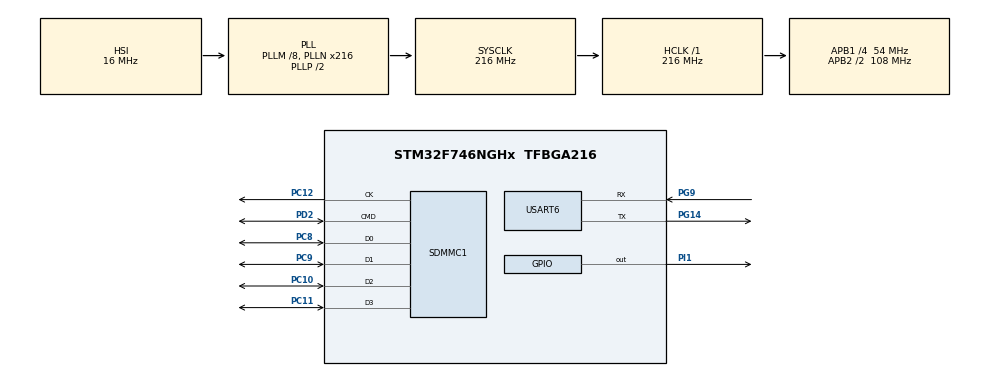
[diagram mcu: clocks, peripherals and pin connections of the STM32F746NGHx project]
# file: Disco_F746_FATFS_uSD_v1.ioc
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Mcu.Family=STM32F7
RCC.CortexFreq_Value=216000000
Dma.SDMMC1_RX.0.MemInc=DMA_MINC_ENABLE
PC12.Signal=SDMMC1_CK
PC10.Signal=SDMMC1_D2
Dma.SDMMC1_RX.0.Instance=DMA2_Stream3
Dma.SDMMC1_RX.0.FIFOMode=DMA_FIFOMODE_ENABLE
Dma.SDMMC1_RX.0.Priority=DMA_PRIORITY_HIGH
RCC.SYSCLKSource=RCC_SYSCLKSOURCE_PLLCLK
ProjectManager.StackSize=0x1000
Dma.SDMMC1_TX.1.FIFOThreshold=DMA_FIFO_THRESHOLD_FULL
RCC.PLL48CLockSelection=RCC_CLK48SOURCE_PLLSAIP
RCC.HCLKFreq_Value=216000000
RCC.APB2TimFreq_Value=216000000
USART6.VirtualMode-Asynchronous=VM_ASYNC
RCC.AHBFreq_Value=216000000
RCC.HSE_VALUE=25000000
PG14.Mode=Asynchronous
PC9.Mode=SD_4_bits_Wide_bus
VP_FREERTOS_VS_CMSIS_V1.Mode=CMSIS_V1
Mcu.Package=TFBGA216
RCC.SDMMCClockSelection=RCC_SDMMC1CLKSOURCE_CLK48
Dma.SDMMC1_RX.0.PeriphBurst=DMA_PBURST_INC4
PC11.Mode=SD_4_bits_Wide_bus
RCC.PLLSAIN=50
RCC.PLLSAIR=5
RCC.APB2CLKDivider=RCC_HCLK_DIV2
Dma.Request1=SDMMC1_TX
RCC.APB1TimFreq_Value=108000000
Dma.SDMMC1_TX.1.MemInc=DMA_MINC_ENABLE
Dma.SDMMC1_RX.0.Mode=DMA_PFCTRL
Dma.Request0=SDMMC1_RX
Dma.SDMMC1_RX.0.MemDataAlignment=DMA_MDATAALIGN_WORD
Dma.SDMMC1_TX.1.Direction=DMA_MEMORY_TO_PERIPH
Dma.SDMMC1_TX.1.Instance=DMA2_Stream6
FREERTOS.Tasks01=uSDThread,0,1024,StartThread,Default,NULL,Dynamic,NULL,NULL
Dma.SDMMC1_RX.0.PeriphInc=DMA_PINC_DISABLE
PG9.Signal=USART6_RX
PC11.Signal=SDMMC1_D3
PG9.Mode=Asynchronous
PC8.Signal=SDMMC1_D0
PC10.Mode=SD_4_bits_Wide_bus
Dma.SDMMC1_RX.0.PeriphDataAlignment=DMA_PDATAALIGN_WORD
RCC.APB1CLKDivider=RCC_HCLK_DIV4
RCC.PLLSAIRDiv=RCC_PLLSAIDIVR_8
Dma.SDMMC1_TX.1.PeriphBurst=DMA_PBURST_INC4
ProjectManager.TargetToolchain=STM32CubeIDE
RCC.USBFreq_Value=50000000
NVIC.DMA2_Stream3_IRQn=true\:5\:0\:false\:false\:false\:true\:false\:true
NVIC.DMA2_Stream6_IRQn=true\:5\:0\:false\:false\:false\:true\:false\:true
PD2.Mode=SD_4_bits_Wide_bus
PG14.Signal=USART6_TX
PC12.Mode=SD_4_bits_Wide_bus
board=STM32F746G-DISCO
RCC.VCOOutputFreq_Value=432000000
RCC.APB2Freq_Value=108000000
PI1.Signal=GPIO_Output
Dma.SDMMC1_RX.0.Direction=DMA_PERIPH_TO_MEMORY
Dma.SDMMC1_RX.0.MemBurst=DMA_MBURST_INC4
Dma.SDMMC1_TX.1.Priority=DMA_PRIORITY_HIGH
Dma.SDMMC1_TX.1.FIFOMode=DMA_FIFOMODE_ENABLE
Mcu.Name=STM32F746NGHx
PC8.Mode=SD_4_bits_Wide_bus
RCC.SYSCLKFreq_VALUE=216000000
Dma.SDMMC1_TX.1.MemBurst=DMA_MBURST_INC4
Dma.SDMMC1_RX.0.FIFOThreshold=DMA_FIFO_THRESHOLD_FULL
Dma.SDMMC1_TX.1.PeriphDataAlignment=DMA_PDATAALIGN_WORD
ProjectManager.HeapSize=0x200
Dma.SDMMC1_TX.1.MemDataAlignment=DMA_MDATAALIGN_WORD
RCC.HSI_VALUE=16000000
RCC.PLLQ=9
NVIC.PriorityGroup=NVIC_PRIORITYGROUP_4
RCC.PLLM=8
RCC.PLLN=216
PC9.Signal=SDMMC1_D1
PD2.Signal=SDMMC1_CMD
RCC.APB1Freq_Value=54000000
Dma.SDMMC1_TX.1.Mode=DMA_PFCTRL
Dma.SDMMC1_TX.1.PeriphInc=DMA_PINC_DISABLE
RCC.PLLI2SN=100

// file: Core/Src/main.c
/* USER CODE BEGIN Header */
/**
  ******************************************************************************
  * @file           : main.c
  * @brief          : Main program body
  ******************************************************************************
  * @attention
  *
  * <h2><center>&copy; Copyright (c) 2021 STMicroelectronics.
  * All rights reserved.</center></h2>
  *
  * This software component is licensed by ST under Ultimate Liberty license
  * SLA0044, the "License"; You may not use this file except in compliance with
  * the License. You may obtain a copy of the License at:
  *                             www.st.com/SLA0044
  *
  ******************************************************************************
  */
/* USER CODE END Header */
#include "main.h"
#include "cmsis_os.h"

SD_HandleTypeDef hsd1;
DMA_HandleTypeDef hdma_sdmmc1_rx;
DMA_HandleTypeDef hdma_sdmmc1_tx;

UART_HandleTypeDef huart6;

osThreadId uSDThreadHandle;
/* USER CODE BEGIN PV */

FATFS SDFatFs;  /* File system object for SD card logical drive */
FIL MyFile;     /* File object */
char SDPath[4]; /* SD card logical drive path */
uint8_t workBuffer[2*_MAX_SS];

/* USER CODE END PV */

void SystemClock_Config(void);
static void MX_GPIO_Init(void);
static void MX_DMA_Init(void);
static void MX_SDMMC1_SD_Init(void);
static void MX_USART6_UART_Init(void);
void StartThread(void const * argument);

int main(void)
{

  /* MCU Configuration--------------------------------------------------------*/

  /* Reset of all peripherals, Initializes the Flash interface and the Systick. */
  HAL_Init();

  /* Configure the system clock */
  SystemClock_Config();

  /* Initialize all configured peripherals */
  MX_GPIO_Init();
  MX_DMA_Init();
  MX_SDMMC1_SD_Init();
  MX_USART6_UART_Init();

  /* Create the thread(s) */
  /* definition and creation of uSDThread */
  osThreadDef(uSDThread, StartThread, osPriorityNormal, 0, 1024);
  uSDThreadHandle = osThreadCreate(osThread(uSDThread), NULL);

  /* Start scheduler */
  osKernelStart();

  /* We should never get here as control is now taken by the scheduler */
  /* Infinite loop */
  while (1)
  {

  }
}

void SystemClock_Config(void)
{
  RCC_OscInitTypeDef RCC_OscInitStruct = {0};
  RCC_ClkInitTypeDef RCC_ClkInitStruct = {0};
  RCC_PeriphCLKInitTypeDef PeriphClkInitStruct = {0};

  /** Configure the main internal regulator output voltage
  */
  __HAL_RCC_PWR_CLK_ENABLE();
  __HAL_PWR_VOLTAGESCALING_CONFIG(PWR_REGULATOR_VOLTAGE_SCALE1);
  /** Initializes the RCC Oscillators according to the specified parameters
  * in the RCC_OscInitTypeDef structure.
  */
  RCC_OscInitStruct.OscillatorType = RCC_OSCILLATORTYPE_HSI;
  RCC_OscInitStruct.HSIState = RCC_HSI_ON;
  RCC_OscInitStruct.HSICalibrationValue = RCC_HSICALIBRATION_DEFAULT;
  RCC_OscInitStruct.PLL.PLLState = RCC_PLL_ON;
  RCC_OscInitStruct.PLL.PLLSource = RCC_PLLSOURCE_HSI;
  RCC_OscInitStruct.PLL.PLLM = 8;
  RCC_OscInitStruct.PLL.PLLN = 216;
  RCC_OscInitStruct.PLL.PLLP = RCC_PLLP_DIV2;
  RCC_OscInitStruct.PLL.PLLQ = 9;
  if (HAL_RCC_OscConfig(&RCC_OscInitStruct) != HAL_OK)
  {
    Error_Handler();
  }
  /** Activate the Over-Drive mode
  */
  if (HAL_PWREx_EnableOverDrive() != HAL_OK)
  {
    Error_Handler();
  }
  /** Initializes the CPU, AHB and APB buses clocks
  */
  RCC_ClkInitStruct.ClockType = RCC_CLOCKTYPE_HCLK|RCC_CLOCKTYPE_SYSCLK
                              |RCC_CLOCKTYPE_PCLK1|RCC_CLOCKTYPE_PCLK2;
  RCC_ClkInitStruct.SYSCLKSource = RCC_SYSCLKSOURCE_PLLCLK;
  RCC_ClkInitStruct.AHBCLKDivider = RCC_SYSCLK_DIV1;
  RCC_ClkInitStruct.APB1CLKDivider = RCC_HCLK_DIV4;
  RCC_ClkInitStruct.APB2CLKDivider = RCC_HCLK_DIV2;

  if (HAL_RCC_ClockConfig(&RCC_ClkInitStruct, FLASH_LATENCY_7) != HAL_OK)
  {
    Error_Handler();
  }
  PeriphClkInitStruct.PeriphClockSelection = RCC_PERIPHCLK_USART6|RCC_PERIPHCLK_SDMMC1
                              |RCC_PERIPHCLK_CLK48;
  PeriphClkInitStruct.PLLSAI.PLLSAIN = 50;
  PeriphClkInitStruct.PLLSAI.PLLSAIR = 5;
  PeriphClkInitStruct.PLLSAI.PLLSAIQ = 2;
  PeriphClkInitStruct.PLLSAI.PLLSAIP = RCC_PLLSAIP_DIV2;
  PeriphClkInitStruct.PLLSAIDivQ = 1;
  PeriphClkInitStruct.PLLSAIDivR = RCC_PLLSAIDIVR_8;
  PeriphClkInitStruct.Usart6ClockSelection = RCC_USART6CLKSOURCE_PCLK2;
  PeriphClkInitStruct.Clk48ClockSelection = RCC_CLK48SOURCE_PLLSAIP;
  PeriphClkInitStruct.Sdmmc1ClockSelection = RCC_SDMMC1CLKSOURCE_CLK48;
  if (HAL_RCCEx_PeriphCLKConfig(&PeriphClkInitStruct) != HAL_OK)
  {
    Error_Handler();
  }
}

static void MX_SDMMC1_SD_Init(void)
{

  hsd1.Instance = SDMMC1;
  hsd1.Init.ClockEdge = SDMMC_CLOCK_EDGE_RISING;
  hsd1.Init.ClockBypass = SDMMC_CLOCK_BYPASS_DISABLE;
  hsd1.Init.ClockPowerSave = SDMMC_CLOCK_POWER_SAVE_DISABLE;
  hsd1.Init.BusWide = SDMMC_BUS_WIDE_1B;
  hsd1.Init.HardwareFlowControl = SDMMC_HARDWARE_FLOW_CONTROL_DISABLE;
  hsd1.Init.ClockDiv = 0;
  if (HAL_SD_Init(&hsd1) != HAL_OK)
  {
    Error_Handler();
  }
  if (HAL_SD_ConfigWideBusOperation(&hsd1, SDMMC_BUS_WIDE_4B) != HAL_OK)
  {
    Error_Handler();
  }

}

static void MX_USART6_UART_Init(void)
{

  huart6.Instance = USART6;
  huart6.Init.BaudRate = 115200;
  huart6.Init.WordLength = UART_WORDLENGTH_8B;
  huart6.Init.StopBits = UART_STOPBITS_1;
  huart6.Init.Parity = UART_PARITY_NONE;
  huart6.Init.Mode = UART_MODE_TX_RX;
  huart6.Init.HwFlowCtl = UART_HWCONTROL_NONE;
  huart6.Init.OverSampling = UART_OVERSAMPLING_16;
  huart6.Init.OneBitSampling = UART_ONE_BIT_SAMPLE_DISABLE;
  huart6.AdvancedInit.AdvFeatureInit = UART_ADVFEATURE_NO_INIT;
  if (HAL_UART_Init(&huart6) != HAL_OK)
  {
    Error_Handler();
  }

}

static void MX_DMA_Init(void)
{

  /* DMA controller clock enable */
  __HAL_RCC_DMA2_CLK_ENABLE();

  /* DMA interrupt init */
  /* DMA2_Stream3_IRQn interrupt configuration */
  HAL_NVIC_SetPriority(DMA2_Stream3_IRQn, 5, 0);
  HAL_NVIC_EnableIRQ(DMA2_Stream3_IRQn);
  /* DMA2_Stream6_IRQn interrupt configuration */
  HAL_NVIC_SetPriority(DMA2_Stream6_IRQn, 5, 0);
  HAL_NVIC_EnableIRQ(DMA2_Stream6_IRQn);

}

static void MX_GPIO_Init(void)
{
  GPIO_InitTypeDef GPIO_InitStruct = {0};

  /* GPIO Ports Clock Enable */
  __HAL_RCC_GPIOG_CLK_ENABLE();
  __HAL_RCC_GPIOC_CLK_ENABLE();
  __HAL_RCC_GPIOD_CLK_ENABLE();
  __HAL_RCC_GPIOI_CLK_ENABLE();

  /*Configure GPIO pin Output Level */
  HAL_GPIO_WritePin(GPIOI, GPIO_PIN_1, GPIO_PIN_RESET);

  /*Configure GPIO pin : PI1 */
  GPIO_InitStruct.Pin = GPIO_PIN_1;
  GPIO_InitStruct.Mode = GPIO_MODE_OUTPUT_PP;
  GPIO_InitStruct.Pull = GPIO_NOPULL;
  GPIO_InitStruct.Speed = GPIO_SPEED_FREQ_LOW;
  HAL_GPIO_Init(GPIOI, &GPIO_InitStruct);

}

void StartThread(void const * argument)
{
  /* USER CODE BEGIN 5 */
	  FRESULT res;                                          /* FatFs function common result code */
	  uint32_t byteswritten, bytesread;                     /* File write/read counts */
	  uint8_t wtext[] = "This is STM32 working with FatFs qwertyuiopasdfghjklzxcvbnm"; /* File write buffer */
	  uint8_t rtext[100];                                   /* File read buffer */

      BSP_LED_Off(LED1);

	  /*##-1- Link the micro SD disk I/O driver ##################################*/
	  if(FATFS_LinkDriver(&SD_Driver, SDPath) == 0)
	  {
	    /*##-2- Register the file system object to the FatFs module ##############*/
	    if(f_mount(&SDFatFs, (TCHAR const*)SDPath, 0) != FR_OK)
	    {
	      /* FatFs Initialization Error */
	      Error_Handler();
	    }
	    /*##-3- Create a FAT file system (format) on the logical drive #########*/
	    /* WARNING: Formatting the uSD card will delete all content on the device */
	    if(f_mkfs((TCHAR const*)SDPath, FM_ANY, 0, workBuffer, sizeof(workBuffer)) != FR_OK)
	      {
	        /* FatFs Format Error */
	        Error_Handler();
	      }
	     /*##-4- Create and Open a new text file object with write access #####*/
	     if(f_open(&MyFile, "STM32.TXT", FA_CREATE_ALWAYS | FA_WRITE | FA_OPEN_APPEND) != FR_OK)
	       {
	       /* 'STM32.TXT' file Open for write Error */
	       Error_Handler();
	       }
	     /*##-5- Write data to the text file ################################*/
	     res = f_write(&MyFile, wtext, sizeof(wtext), (void *)&byteswritten);

	     if((byteswritten == 0) || (res != FR_OK))
	       {
	       /* 'STM32.TXT' file Write or EOF Error */
	       Error_Handler();
	       }
	     /*##-6- Close the open text file #################################*/
	     f_close(&MyFile);

	     /*##-7- Open the text file object with read access ###############*/
	     if(f_open(&MyFile, "STM32.TXT", FA_READ) != FR_OK)
	       {
	       /* 'STM32.TXT' file Open for read Error */
	       Error_Handler();
	       }
	     /*##-8- Read data from the text file ###########################*/
	     res = f_read(&MyFile, rtext, sizeof(rtext), (UINT*)&bytesread);

	     if((bytesread == 0) || (res != FR_OK))
	       {
	       /* 'STM32.TXT' file Read or EOF Error */
	       Error_Handler();
	       }
	     /*##-9- Close the open text file #############################*/
	     f_close(&MyFile);

	     /*##-10- Compare read data with the expected data ############*/
	     if ((bytesread != byteswritten))
	        {
	        /* Read data is different from the expected data */
	        Error_Handler();
	        }
	     else
	        {
	        /* Success of the demo: no error occurrence */
	        BSP_LED_On(LED1);
	        }

		/*##-11- Unlink the micro SD disk I/O driver ###############################*/
		FATFS_UnLinkDriver(SDPath);
	  }

	  /* Infinite Loop */
	  for( ;; )
	  {
	  }
  /* USER CODE END 5 */
}

void Error_Handler(void)
{
  __disable_irq();
  while (1)
  {
  }
}

/************************ (C) COPYRIGHT STMicroelectronics *****END OF FILE****/
